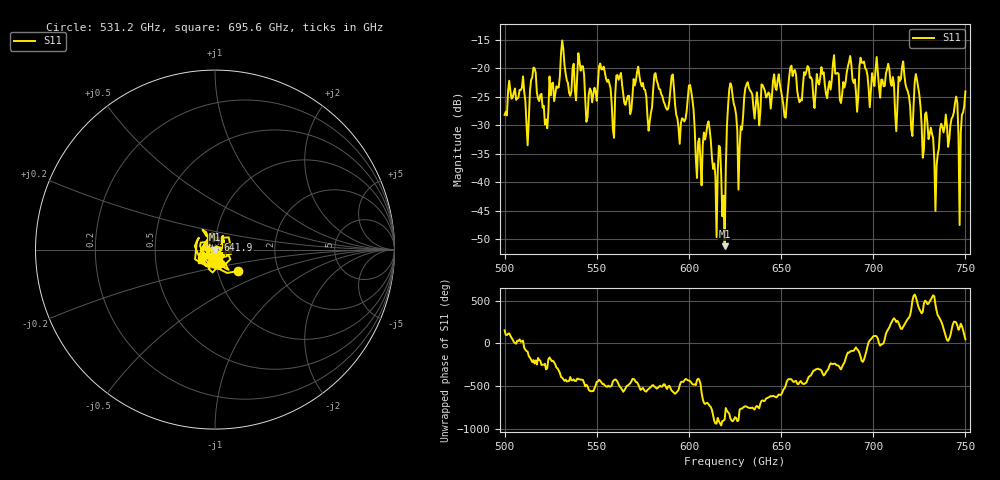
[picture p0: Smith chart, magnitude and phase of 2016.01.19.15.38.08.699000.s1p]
!Created with skrf (http://scikit-rf.org).
# GHz S RI R 50.0
!freq ReS11 ImS11
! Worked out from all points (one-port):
!   401 points, 500 GHz to 750 GHz, reference 50 ohm
!   lowest |S11| = -51.2 dB at 619.4 GHz (marker M1), VSWR 1.01, Z = 49.7 - j0.0342 ohm
!   |S11| at or under -10 dB: start of sweep to end of sweep
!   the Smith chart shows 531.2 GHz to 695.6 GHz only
!   S11 on the Smith chart (normalised r, x): 531.2 GHz: 1.25, -0.31; 641.9 GHz: 1.03, +0.11; 695.6 GHz: 0.85, -0.10
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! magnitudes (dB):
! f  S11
! 500 GHz  -28.2
! 512.5 GHz  -33.5
! 515.6 GHz  -19.9
! 522.5 GHz  -29.0
! 531.2 GHz  -15.1
! 545 GHz  -28.6
! 562.5 GHz  -21.4
! 578.8 GHz  -29.3
! 591.2 GHz  -21.1
! 593.8 GHz  -28.8
! 600.6 GHz  -22.9
! 605.6 GHz  -32.3
! 610.6 GHz  -29.3
! 619.4 GHz  -51.2
! 621.9 GHz  -23.7
! 625 GHz  -27.0
! 627.5 GHz  -33.9
! 631.2 GHz  -22.8
! 641.9 GHz  -25.1
! 656.2 GHz  -21.4
! 687.5 GHz  -17.8
! 695.6 GHz  -20.0
! 718.8 GHz  -24.0
! 723.8 GHz  -22.1
! 734.4 GHz  -37.0
! 744.4 GHz  -26.0
! 747.5 GHz  -31.2
! 750 GHz  -24.0
